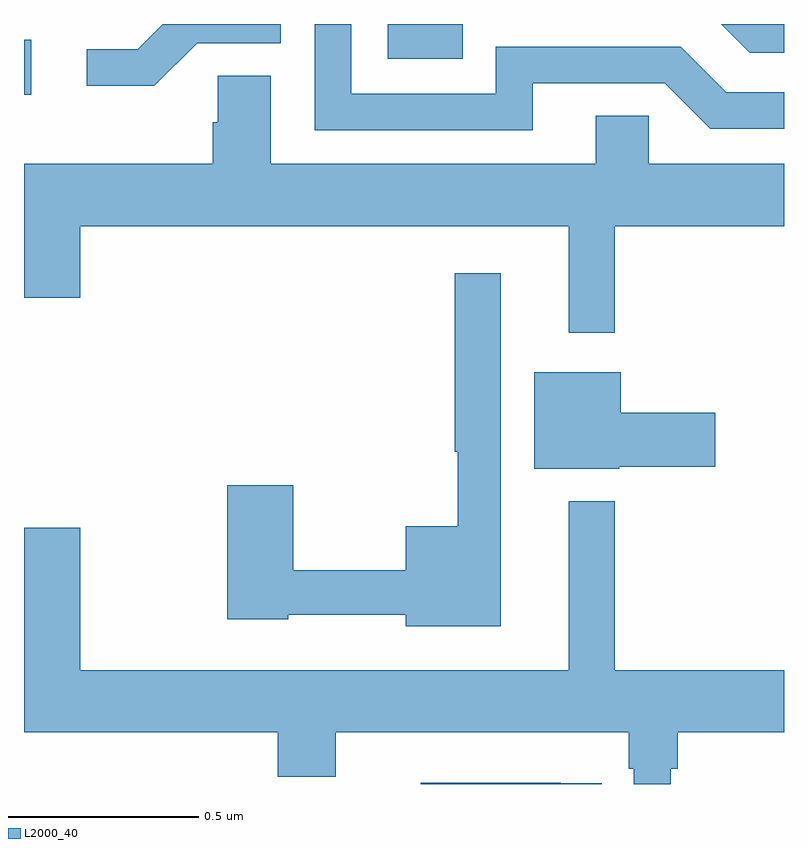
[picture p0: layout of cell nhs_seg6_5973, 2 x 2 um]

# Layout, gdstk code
import gdstk
lib = gdstk.Library(unit=1e-6, precision=1e-09)
def R(c, l, rs):  # rectangles x0, y0, x1, y1
    for r in rs: c.add(gdstk.rectangle(r[:2], r[2:], *l))
def P(c, l, *ps):  # polygons
    for p in ps: c.add(gdstk.Polygon(p, *l))
L2000_40 = (2000, 40)

nhs_seg6_5973 = lib.new_cell('nhs_seg6_5973')
R(nhs_seg6_5973, L2000_40, [(189,982.314,189.019,982.458), (189.957,982.409,190.155,982.5)])
P(nhs_seg6_5973, L2000_40, [(191,982.5),(190.835,982.5),(190.91,982.425),(191,982.425)],
  [(190.339,982.344),(190.686,982.344),(190.806,982.224),(191,982.224),(191,982.32),(190.848,982.32),(190.728,982.44),(190.242,982.44),(190.242,982.317),(189.861,982.317),(189.861,982.5),(189.765,982.5),(189.765,982.221),(190.339,982.221)],
  [(189.456,982.449),(189.675,982.449),(189.675,982.5),(189.365,982.5),(189.299,982.434),(189.165,982.434),(189.165,982.337),(189.343,982.337)],
  [(190.555,981.968),(191,981.968),(191,982.132),(190.644,982.132),(190.644,982.259),(190.505,982.259),(190.505,982.132),(189.649,982.132),(189.649,982.364),(189.51,982.364),(189.51,982.241),(189.497,982.241),(189.497,982.132),(189,982.132),(189,981.78),(189.148,981.78),(189.148,981.968),(190.433,981.968),(190.433,981.687),(190.555,981.687)],
  [(190.255,981.844),(190.134,981.844),(190.134,981.374),(190.141,981.374),(190.141,981.178),(190.004,981.178),(190.004,981.062),(189.708,981.062),(189.708,981.286),(189.535,981.286),(189.535,980.933),(189.696,980.933),(189.696,980.945),(190.004,980.945),(190.004,980.915),(190.255,980.915)],
  [(190.566,981.335),(190.819,981.335),(190.819,981.477),(190.57,981.477),(190.57,981.583),(190.343,981.583),(190.343,981.329),(190.566,981.329)],
  [(190.702,980.54),(190.721,980.54),(190.721,980.636),(191,980.636),(191,980.8),(190.555,980.8),(190.555,981.244),(190.433,981.244),(190.433,980.8),(189.148,980.8),(189.148,981.175),(189,981.175),(189,980.636),(189.668,980.636),(189.668,980.519),(189.82,980.519),(189.82,980.636),(190.592,980.636),(190.592,980.54),(190.605,980.54),(190.605,980.5),(190.702,980.5)],
  [(190.52,980.502),(190.412,980.502),(190.412,980.503),(190.044,980.503),(190.044,980.5),(190.52,980.5)])

lib.write_gds('nhs_seg6_5973.gds')
